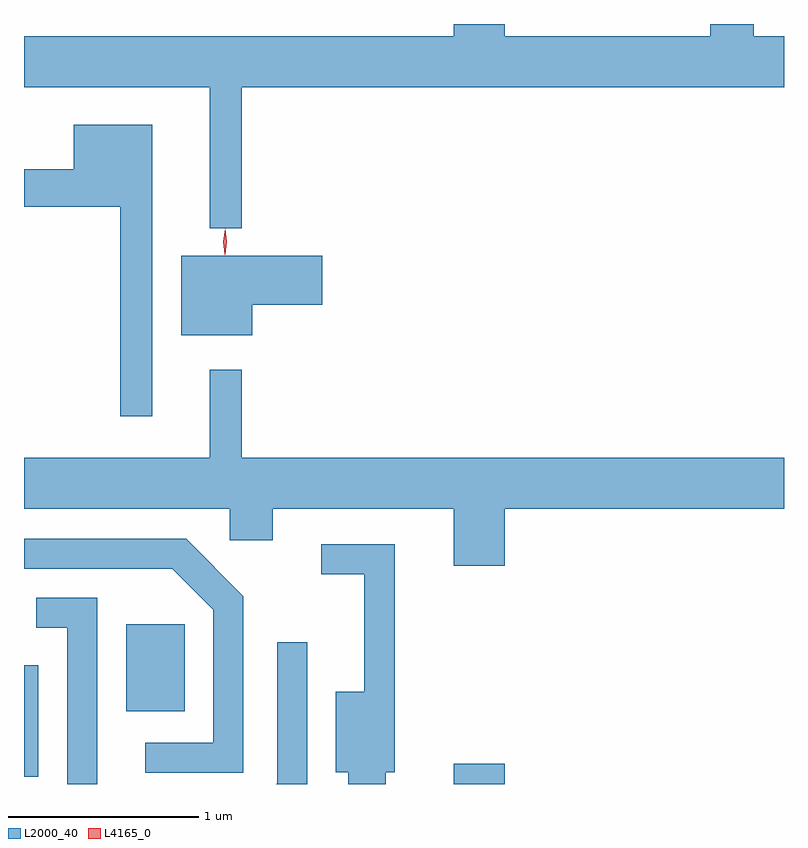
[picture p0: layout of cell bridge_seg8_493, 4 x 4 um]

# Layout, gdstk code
import gdstk
lib = gdstk.Library(unit=1e-6, precision=1e-09)
def R(c, l, rs):  # rectangles x0, y0, x1, y1
    for r in rs: c.add(gdstk.rectangle(r[:2], r[2:], *l))
def P(c, l, *ps):  # polygons
    for p in ps: c.add(gdstk.Polygon(p, *l))
L2000_40 = (2000, 40)
L4165_0 = (4165, 0)

bridge_seg8_493 = lib.new_cell('bridge_seg8_493')
R(bridge_seg8_493, L2000_40, [(314.976,1892.688,315.244,1892.794), (312.714,1892.726,312.789,1893.313), (313.251,1893.071,313.559,1893.529)])
P(bridge_seg8_493, L2000_40, [(313.859,1896.356),(316.714,1896.356),(316.714,1896.624),(316.554,1896.624),(316.554,1896.688),(316.326,1896.688),(316.326,1896.624),(315.244,1896.624),(315.244,1896.688),(314.976,1896.688),(314.976,1896.624),(312.714,1896.624),(312.714,1896.356),(313.691,1896.356),(313.691,1895.613),(313.859,1895.613)],
  [(313.389,1896.159),(312.976,1896.159),(312.976,1895.924),(312.714,1895.924),(312.714,1895.726),(313.221,1895.726),(313.221,1894.623),(313.389,1894.623)],
  [(313.914,1895.211),(314.284,1895.211),(314.284,1895.469),(313.541,1895.469),(313.541,1895.051),(313.914,1895.051)],
  [(315.244,1894.136),(316.714,1894.136),(316.714,1894.404),(313.859,1894.404),(313.859,1894.868),(313.691,1894.868),(313.691,1894.404),(312.714,1894.404),(312.714,1894.136),(313.796,1894.136),(313.796,1893.971),(314.024,1893.971),(314.024,1894.136),(314.976,1894.136),(314.976,1893.836),(315.244,1893.836)],
  [(313.869,1893.677),(313.567,1893.979),(312.714,1893.979),(312.714,1893.821),(313.494,1893.821),(313.711,1893.604),(313.711,1892.904),(313.353,1892.904),(313.353,1892.746),(313.869,1892.746)],
  [(314.619,1892.751),(314.664,1892.751),(314.664,1893.949),(314.278,1893.949),(314.278,1893.791),(314.506,1893.791),(314.506,1893.174),(314.356,1893.174),(314.356,1892.751),(314.421,1892.751),(314.421,1892.688),(314.619,1892.688)],
  [(313.099,1893.669),(312.778,1893.669),(312.778,1893.511),(312.941,1893.511),(312.941,1892.688),(313.099,1892.688)],
  [(314.204,1893.433),(314.046,1893.433),(314.046,1892.692),(314.042,1892.688),(314.204,1892.688)])
P(bridge_seg8_493, L4165_0, [(313.771,1895.474),(313.771,1895.474),(313.762,1895.542),(313.772,1895.61),(313.773,1895.61),(313.773,1895.61),(313.782,1895.542),(313.772,1895.474)],
  [(313.771,1895.48),(313.77,1895.481),(313.762,1895.544),(313.772,1895.606),(313.773,1895.607),(313.773,1895.606),(313.782,1895.543),(313.771,1895.481)])

lib.write_gds('bridge_seg8_493.gds')
